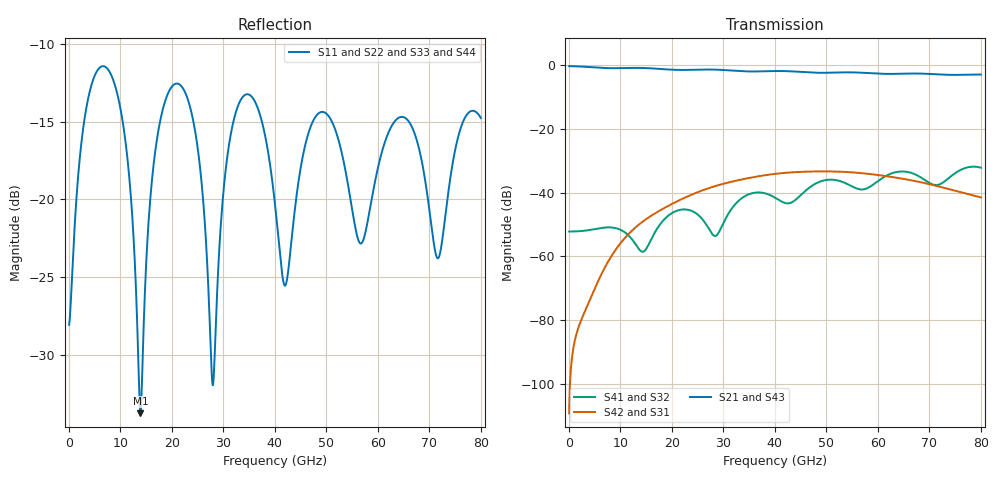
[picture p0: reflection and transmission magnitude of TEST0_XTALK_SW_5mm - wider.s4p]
! TOUCHSTONE file generated by CST MICROWAVE STUDIO
! Date and time: Mon Oct 26 08:30:54 2026
! Project name: TEST0_XTALK_SW_5mm - wider.cst
! Parameters = {L=5; L1=0.01; L2=0.076; PITCH=0.2; START_POSITION=0.1; W1=0.002; W2=0.022; gap=0.00415; interaxis=0.625; ln_thickness=0.000275; mtx=0.002; si_thickness=0.3; sio2_thickness=0.0047; w=2; wg=0.03; ws=0.01}
! Header version: 2024
! Port assignment regex: !\s*Touchstone port\s*([0-9]+)\s*=\s*(CST MWS port|CST DES external port|CST DES block port)\s*(.+)\s* \(\"(.*)\"\)(\s*mode\s*([0-9]+))?.*
! Touchstone port assignment:
! Touchstone port 1 = CST MWS port 1 ("")
! Touchstone port 2 = CST MWS port 2 ("")
! Touchstone port 3 = CST MWS port 3 ("")
! Touchstone port 4 = CST MWS port 4 ("")
# GHz S MA R 50
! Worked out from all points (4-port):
!   1000 points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, 80 MHz to 80 GHz, reference 50 ohm
!   strongest paths, dB at 80 MHz, 20.08 GHz, 40.08 GHz, 60.08 GHz, 80 GHz:
!     S21: -0.3, -1.4, -1.8, -2.7, -3.0
!     S43: -0.3, -1.4, -1.8, -2.7, -3.0
!     S42: -109.2, -43.5, -34.1, -34.5, -41.5
!     S31: -109.1, -43.5, -34.1, -34.5, -41.5
!     S41: -52.2, -46.4, -41.6, -36.3, -32.2
!     S32: -52.2, -46.4, -41.6, -36.3, -32.2
!   lowest |S11| = -33.8 dB at 13.92 GHz (marker M1), VSWR 1.04, Z = 52.1 - j0.312 ohm
!   |S11| at or under -10 dB: start of sweep to end of sweep
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0.08  0.03955 6.3  0.9633 -1.1  3.497e-06 65.5  0.00246 176.8
      0.9633 -1.1  0.03955 6.3  0.00246 176.8  3.454e-06 67.4
      3.52e-06 64.5  0.002461 176.8  0.03955 6.3  0.9633 -1.1
      0.002461 176.8  3.474e-06 66.4  0.9633 -1.1  0.03955 6.3
13.92  0.02053 -8.4  0.9041 -177.7  0.003304 -27.6  0.00123 3.2
       0.9041 -177.7  0.02052 -8.3  0.00123 3.2  0.003303 -27.6
       0.003303 -27.6  0.001231 3.2  0.02054 -8.4  0.9041 -177.7
       0.001231 3.2  0.003303 -27.6  0.9041 -177.7  0.02052 -8.3
28  0.02528 -2.7  0.8522 5.7  0.01238 -65.6  0.002183 -44.1
    0.8522 5.7  0.02529 -2.7  0.002183 -44.1  0.01238 -65.6
    0.01238 -65.6  0.002182 -44.1  0.02528 -2.7  0.8522 5.7
    0.002182 -44.1  0.01238 -65.6  0.8522 5.7  0.02529 -2.7
42.4  0.05571 8.1  0.8045 -174.2  0.02059 -117.6  0.006803 128.1
      0.8045 -174.2  0.05575 8.0  0.006803 128.1  0.02059 -117.6
      0.02059 -117.6  0.006802 128.1  0.05568 8.1  0.8045 -174.2
      0.006801 128.1  0.02059 -117.6  0.8045 -174.2  0.05572 8.0
56.4  0.07286 -10.0  0.764 11.1  0.0204 -160.4  0.01133 -70.9
      0.764 11.1  0.073 -10.0  0.01133 -70.9  0.02039 -160.4
      0.0204 -160.5  0.01132 -71.0  0.07283 -9.9  0.764 11.1
      0.01132 -71.0  0.0204 -160.5  0.764 11.1  0.07298 -10.0
70.72  0.07507 -22.9  0.7229 -168.1  0.01316 152.3  0.0134 84.4
       0.7229 -168.1  0.07481 -22.9  0.0134 84.4  0.01317 152.3
       0.01316 152.3  0.0134 84.4  0.0751 -22.9  0.7229 -168.1
       0.0134 84.4  0.01317 152.3  0.7229 -168.1  0.07484 -22.9
80  0.1826 -14.1  0.7109 76.3  0.008435 -100.7  0.0246 -54.0
    0.7109 76.3  0.1827 -14.0  0.0246 -54.0  0.008441 -100.7
    0.008432 -100.7  0.02461 -54.0  0.1826 -14.1  0.7108 76.3
    0.02461 -54.0  0.008438 -100.7  0.7108 76.3  0.1827 -14.0
